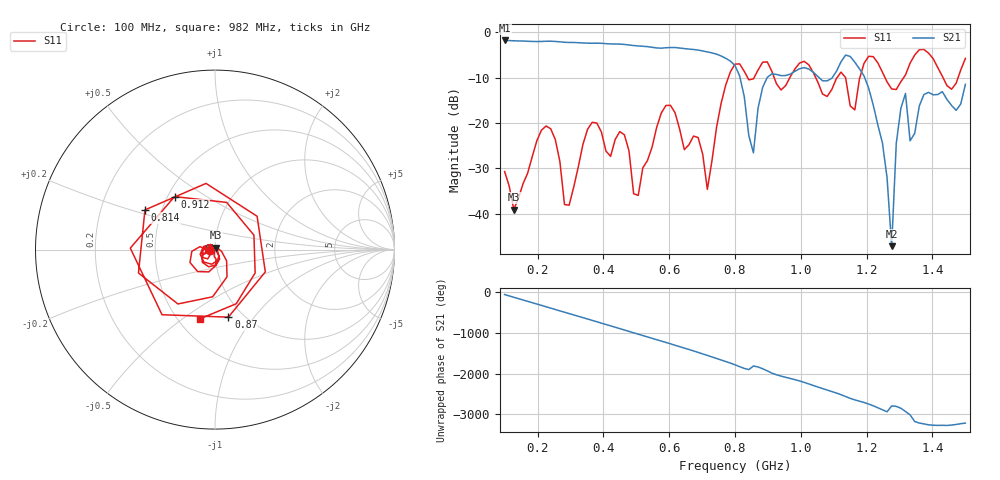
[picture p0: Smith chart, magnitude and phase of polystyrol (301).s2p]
! NanoVNA-App
! Date: 2025-09-25 15:32:14
! Start: 100MHz Stop: 1,5GHz Points: 101
! S-Parameter data: F S11 S21 S12 S22
# Hz S RI R 50
!  Frequency  S11_Real  S11_Imag  S21_Real  S21_Imag  S12_Real  S12_Imag  S22_Real  S22_Imag
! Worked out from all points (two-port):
!   101 points, 100 MHz to 1.5 GHz, reference 50 ohm
!   highest |S21| = -1.80 dB at 100 MHz (marker M1); lowest = -47.2 dB at 1.276 GHz (marker M2)
!   |S21| within 3 dB of the highest: start of sweep to 743.1 MHz
!   lowest |S11| = -39.1 dB at 128 MHz (marker M3), VSWR 1.02, Z = 50.3 + j1.06 ohm
!   |S11| at or under -10 dB: start of sweep to 779.7 MHz; 1.045 GHz to 1.11 GHz (64.78 MHz wide, 6.01 % of centre); 1.256 GHz to 1.312 GHz (56.49 MHz wide, 4.4 % of centre) (the widest 3 of 7)
!   S12 and S22 are empty: the file has one direction only
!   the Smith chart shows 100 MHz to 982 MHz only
!   S11 on the Smith chart (normalised r, x): 100 MHz: 0.94, -0.01; 814 MHz: 0.40, +0.22; 870 MHz: 0.85, -0.75; 912 MHz: 0.54, +0.37; 982 MHz: 0.64, -0.58
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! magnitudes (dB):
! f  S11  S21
! 100 MHz  -30.7  -1.8
! 128 MHz  -39.1  -1.9
! 212 MHz  -21.6  -2.0
! 282 MHz  -38.0  -2.2
! 338 MHz  -24.7  -2.4
! 464 MHz  -22.6  -2.7
! 506 MHz  -36.0  -3.0
! 576 MHz  -17.8  -3.5
! 716 MHz  -34.6  -4.3
! 800 MHz  -7.0  -7.3
! 814 MHz  -7.0  -9.6
! 856 MHz  -10.3  -26.6
! 870 MHz  -8.3  -16.7
! 912 MHz  -8.6  -9.2
! 982 MHz  -8.1  -8.6
! 1.038 GHz  -8.9  -8.8
! 1.192 GHz  -6.9  -9.6
! 1.276 GHz  -12.5  -47.2
! 1.29 GHz  -12.6  -24.5
! 1.318 GHz  -9.4  -13.5
! 1.332 GHz  -6.8  -23.9
! 1.5 GHz  -5.8  -11.5
